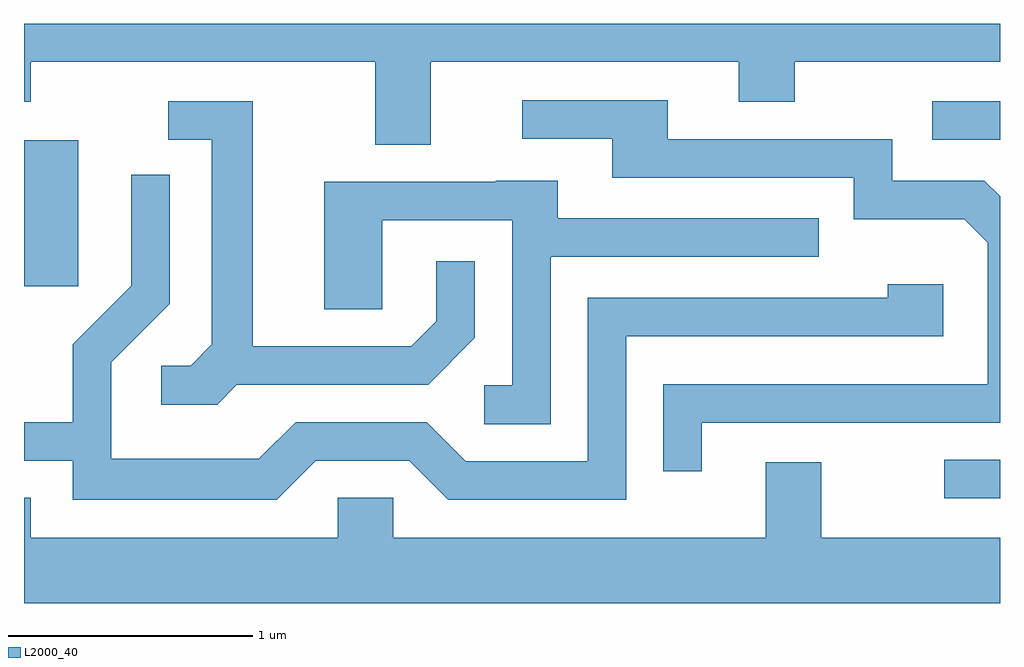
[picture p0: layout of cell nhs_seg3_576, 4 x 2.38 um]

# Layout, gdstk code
import gdstk
lib = gdstk.Library(unit=1e-6, precision=1e-09)
def R(c, l, rs):  # rectangles x0, y0, x1, y1
    for r in rs: c.add(gdstk.rectangle(r[:2], r[2:], *l))
def P(c, l, *ps):  # polygons
    for p in ps: c.add(gdstk.Polygon(p, *l))
L2000_40 = (2000, 40)

nhs_seg3_576 = lib.new_cell('nhs_seg3_576')
R(nhs_seg3_576, L2000_40, [(205.383,1181.946,205.611,1182.104), (201.611,1182.816,201.834,1183.414), (205.333,1183.416,205.611,1183.574)])
P(nhs_seg3_576, L2000_40, [(203.279,1183.736),(204.541,1183.736),(204.541,1183.571),(204.769,1183.571),(204.769,1183.736),(205.611,1183.736),(205.611,1183.892),(201.611,1183.892),(201.611,1183.571),(201.639,1183.571),(201.639,1183.736),(203.051,1183.736),(203.051,1183.396),(203.279,1183.396)],
  [(204.389,1182.256),(205.611,1182.256),(205.611,1183.185),(205.547,1183.249),(205.169,1183.249),(205.169,1183.419),(204.249,1183.419),(204.249,1183.579),(203.653,1183.579),(203.653,1183.421),(204.021,1183.421),(204.021,1183.261),(205.011,1183.261),(205.011,1183.091),(205.464,1183.091),(205.561,1182.994),(205.561,1182.414),(204.231,1182.414),(204.231,1182.058),(204.389,1182.058)],
  [(202.482,1182.411),(203.267,1182.411),(203.459,1182.604),(203.459,1182.918),(203.301,1182.918),(203.301,1182.672),(203.199,1182.569),(202.549,1182.569),(202.549,1183.574),(202.203,1183.574),(202.203,1183.416),(202.381,1183.416),(202.381,1182.577),(202.294,1182.489),(202.173,1182.489),(202.173,1182.331),(202.402,1182.331)],
  [(202.807,1182.101),(203.189,1182.101),(203.349,1181.941),(204.079,1181.941),(204.079,1182.611),(205.379,1182.611),(205.379,1182.824),(205.151,1182.824),(205.151,1182.769),(203.921,1182.769),(203.921,1182.099),(203.422,1182.099),(203.262,1182.259),(202.724,1182.259),(202.574,1182.109),(201.969,1182.109),(201.969,1182.504),(202.209,1182.744),(202.209,1183.273),(202.051,1183.273),(202.051,1182.817),(201.811,1182.577),(201.811,1182.259),(201.611,1182.259),(201.611,1182.101),(201.811,1182.101),(201.811,1181.941),(202.647,1181.941)],
  [(203.769,1182.936),(204.868,1182.936),(204.868,1183.094),(203.799,1183.094),(203.799,1183.249),(203.545,1183.249),(203.545,1183.244),(202.841,1183.244),(202.841,1182.721),(203.079,1182.721),(203.079,1183.086),(203.611,1183.086),(203.611,1182.409),(203.498,1182.409),(203.498,1182.251),(203.769,1182.251)],
  [(205.611,1181.784),(204.879,1181.784),(204.879,1182.094),(204.651,1182.094),(204.651,1181.784),(203.124,1181.784),(203.124,1181.949),(202.896,1181.949),(202.896,1181.784),(201.639,1181.784),(201.639,1181.949),(201.611,1181.949),(201.611,1181.516),(205.611,1181.516)])

lib.write_gds('nhs_seg3_576.gds')
